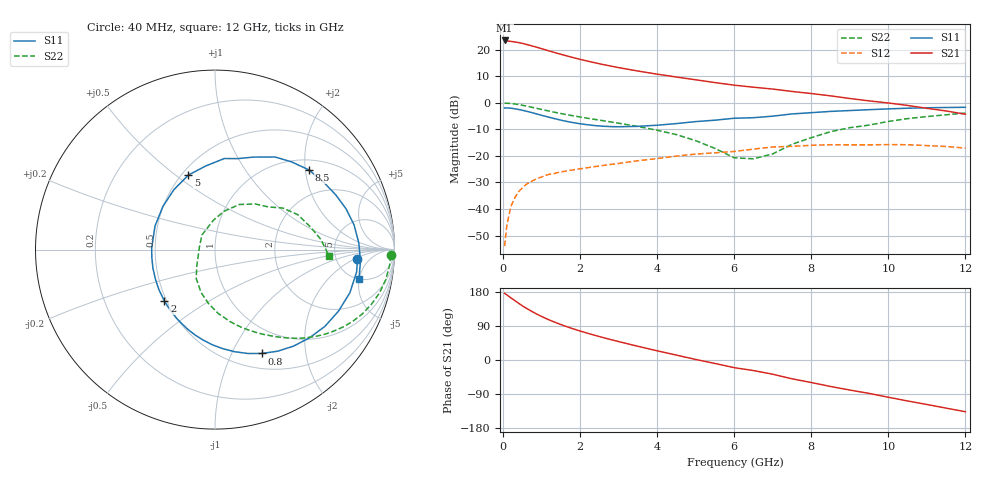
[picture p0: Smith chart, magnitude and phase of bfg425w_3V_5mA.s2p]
! Filename: 35bfg425.001
! BFG425W Field C1
! V1=8.254E-001V,V2=3.000E+000V, I1=6.088E-005A, I2=5.000E-003A
# GHz  S  MA  R 50
!  S11  S21  S12  S22
!Freq(GHz)  Mag  Ang  Mag  Ang  Mag  Ang  Mag  Ang
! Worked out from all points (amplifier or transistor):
!   44 points, 40 MHz to 12 GHz, reference 50 ohm
!   highest |S21| = 23.4 dB at 40 MHz (marker M1)
!   |S21| within 3 dB of that: start of sweep to 978.1 MHz
!   unconditionally stable (mu >= 1): 2.464 GHz to end of sweep
!   at 700 MHz: K = 0.34, MSG = 25.7 dB, |S12| = -29.9 dB
!   at 2.4 GHz: K = 0.98, MSG = 19.5 dB, |S12| = -24.0 dB
!   at 12 GHz: K = 1.50, MAG = 2.2 dB, |S12| = -17.1 dB
!   S11 on the Smith chart (normalised r, x): 40 MHz: 8.13, -2.25; 800 MHz: 0.68, -1.31; 2 GHz: 0.49, -0.33; 5 GHz: 0.54, +0.56; 8.5 GHz: 1.25, +2.09; 12 GHz: 4.95, -4.97
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0.04  0.795 -3.7  14.82 176.0  0.002 64.9  0.979 -1.9
0.1  0.799 -8.9  14.49 171.7  0.005 82.4  0.977 -5.0
0.3  0.769 -26.4  13.93 157.2  0.016 73.7  0.948 -14.8
0.5  0.72 -43.1  13.09 143.0  0.025 64.8  0.896 -23.5
0.6  0.693 -50.9  12.52 136.7  0.029 61.1  0.866 -27.4
0.8  0.635 -65.7  11.43 125.2  0.035 54.4  0.804 -34.3
1  0.579 -79.2  10.38 114.9  0.04 49.0  0.746 -40.2
1.3  0.509 -97.3  8.949 101.5  0.046 43.0  0.67 -47.6
1.6  0.452 -114.2  7.778 89.9  0.051 38.6  0.606 -53.6
2  0.402 -134.6  6.54 76.5  0.057 34.4  0.539 -60.9
2.2  0.384 -144.5  6.041 70.4  0.06 32.7  0.509 -64.3
2.6  0.361 -163.3  5.217 59.1  0.066 29.6  0.458 -71.1
3  0.353 179.0  4.573 48.6  0.072 26.5  0.411 -78.0
3.5  0.359 158.6  3.942 36.2  0.081 22.2  0.357 -87.0
4.5  0.405 124.4  3.041 12.9  0.099 11.6  0.251 -108.0
5  0.441 109.6  2.7 1.4  0.108 4.4  0.193 -122.7
6  0.51 84.2  2.137 -20.2  0.121 -9.3  0.092 -170.6
6.5  0.522 76.1  1.957 -27.9  0.134 -10.5  0.088 169.8
7.5  0.615 57.0  1.627 -49.6  0.151 -29.5  0.165 92.7
8.5  0.686 40.4  1.345 -69.9  0.162 -46.4  0.285 61.8
10.5  0.787 10.0  0.888 -108.1  0.162 -81.6  0.502 22.7
12  0.819 -11.6  0.607 -136.5  0.14 -112.5  0.637 -3.3
